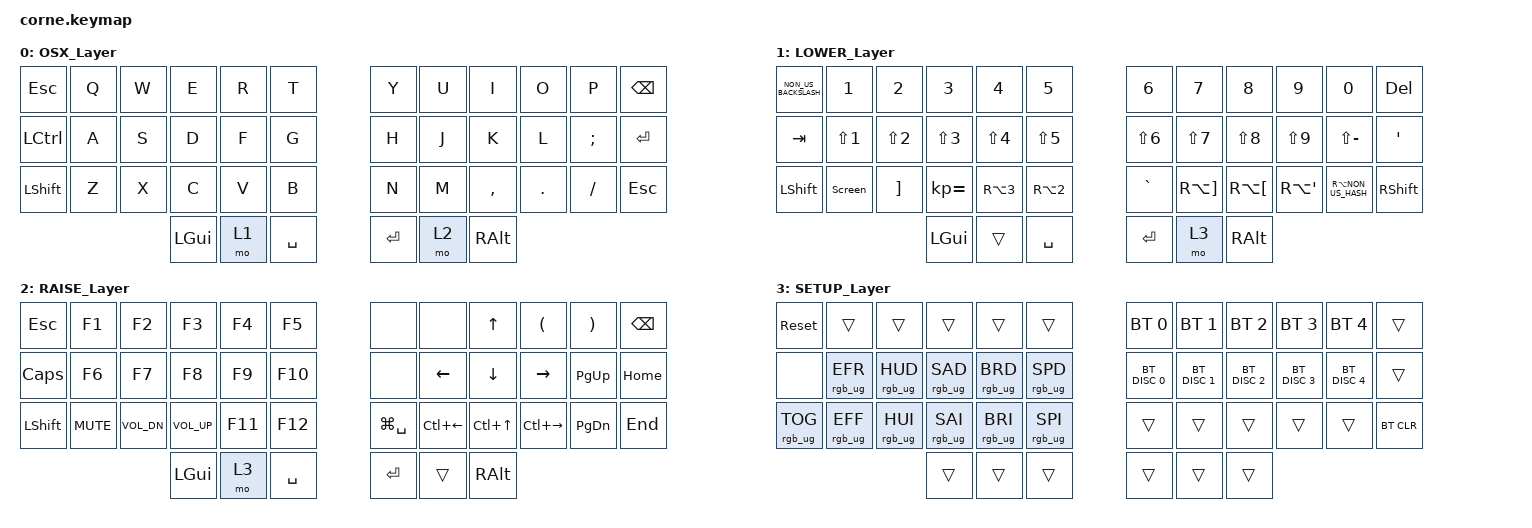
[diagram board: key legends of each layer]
/*
 * Copyright (c) 2020 The ZMK Contributors
 *
 * SPDX-License-Identifier: MIT
 */

#include <behaviors.dtsi>
#include <dt-bindings/zmk/bt.h>
#include <dt-bindings/zmk/keys.h>
#include <dt-bindings/zmk/rgb.h>
#include <dt-bindings/led/led.h>

/ 
{
    &led_strip {
            chain-length = <27>;
    };
    macros {
        Screen: Screen {
            compatible = "zmk,behavior-macro";
            #binding-cells = <0>;
            bindings = <&kp LS(LC(LG(N4)))>;
            label = "SCREEN";
        };
    };

    keymap {
        compatible = "zmk,keymap";

        OSX_Layer {
            // -----------------------------------------------------------------------------------------
            // |  TAB |  Q  |  W  |  E  |  R  |  T  |   |  Y  |  U   |  I  |  O  |  P  | BKSP |
            // | CTRL |  A  |  S  |  D  |  F  |  G  |   |  H  |  J   |  K  |  L  |  ;  |  '   |
            // | SHFT |  Z  |  X  |  C  |  V  |  B  |   |  N  |  M   |  ,  |  .  |  /  | ESC  |
            //                    | GUI | LWR | SPC |   | ENT | RSE  | ALT |

            bindings = <
&kp ESC    &kp Q  &kp W  &kp E     &kp R  &kp T        &kp Y    &kp U  &kp I      &kp O    &kp P     &kp BSPC
&kp LCTRL  &kp A  &kp S  &kp D     &kp F  &kp G        &kp H    &kp J  &kp K      &kp L    &kp SEMI  &kp ENTER
&kp LSHFT  &kp Z  &kp X  &kp C     &kp V  &kp B        &kp N    &kp M  &kp COMMA  &kp DOT  &kp FSLH  &kp ESC
                         &kp LGUI  &mo 1  &kp SPACE    &kp RET  &mo 2  &kp RALT
            >;
        };

        LOWER_Layer {
            // -----------------------------------------------------------------------------------------
            // |  TAB |  1  |  2  |  3  |  4  |  5  |   |  6  |  7  |  8  |  9  |  0  | BKSP |
            // | BTCLR| BT1 | BT2 | BT3 | BT4 | BT5 |   | LFT | DWN |  UP | RGT |     |      |
            // | SHFT |     |     |     |     |     |   |     |     |     |     |     |      |
            //                    | GUI |     | SPC |   | ENT |     | ALT |

            bindings = <
&kp NON_US_BACKSLASH  &kp N1      &kp N2             &kp N3        &kp N4      &kp N5        &kp N6      &kp N7                 &kp N8        &kp N9                &kp N0               &kp DEL
&kp TAB               &kp LS(N1)  &kp LS(N2)         &kp LS(N3)    &kp LS(N4)  &kp LS(N5)    &kp LS(N6)  &kp LS(N7)             &kp LS(N8)    &kp LS(N9)            &kp LS(MINUS)        &kp SINGLE_QUOTE
&kp LSHFT             &Screen     &kp RIGHT_BRACKET  &kp KP_EQUAL  &kp RA(N3)  &kp RA(N2)    &kp GRAVE   &kp RA(RIGHT_BRACKET)  &kp RA(LBKT)  &kp RA(SINGLE_QUOTE)  &kp RA(NON_US_HASH)  &kp RSHIFT
                                                     &kp LGUI      &trans      &kp SPACE     &kp RET     &mo 3                  &kp RALT
            >;
        };

        RAISE_Layer {
            // -----------------------------------------------------------------------------------------
            // |  TAB |  !  |  @  |  #  |  $  |  %  |   |  ^  |  &  |  *  |  (  |  )  | BKSP |
            // | CTRL |     |     |     |     |     |   |  -  |  =  |  [  |  ]  |  \  |  `   |
            // | SHFT |     |     |     |     |     |   |  _  |  +  |  {  |  }  | "|" |  ~   |
            //                    | GUI |     | SPC |   | ENT |     | ALT |

            bindings = <
&kp ESC       &kp F1      &kp F2        &kp F3        &kp F4   &kp F5       &none          &none           &kp UP_ARROW  &kp LPAR         &kp RPAR   &kp BSPC
&kp CAPSLOCK  &kp F6      &kp F7        &kp F8        &kp F9   &kp F10      &none          &kp LEFT_ARROW  &kp DOWN      &kp RIGHT_ARROW  &kp PG_UP  &kp HOME
&kp LSHFT     &kp C_MUTE  &kp C_VOL_DN  &kp C_VOL_UP  &kp F11  &kp F12      &kp LG(SPACE)  &kp LC(LEFT)    &kp LC(UP)    &kp LC(RIGHT)    &kp PG_DN  &kp END
                                        &kp LGUI      &mo 3    &kp SPACE    &kp RET        &trans          &kp RALT
            >;
        };

        SETUP_Layer {
            bindings = <
&sys_reset       &trans           &trans           &trans           &trans           &trans             &bt BT_SEL 0   &bt BT_SEL 1   &bt BT_SEL 2   &bt BT_SEL 3   &bt BT_SEL 4   &trans
&none            &rgb_ug RGB_EFR  &rgb_ug RGB_HUD  &rgb_ug RGB_SAD  &rgb_ug RGB_BRD  &rgb_ug RGB_SPD    &bt BT_DISC 0  &bt BT_DISC 1  &bt BT_DISC 2  &bt BT_DISC 3  &bt BT_DISC 4  &trans
&rgb_ug RGB_TOG  &rgb_ug RGB_EFF  &rgb_ug RGB_HUI  &rgb_ug RGB_SAI  &rgb_ug RGB_BRI  &rgb_ug RGB_SPI    &trans         &trans         &trans         &trans         &trans         &bt BT_CLR
                                                   &trans           &trans           &trans             &trans         &trans         &trans
            >;
        };
    };
};
